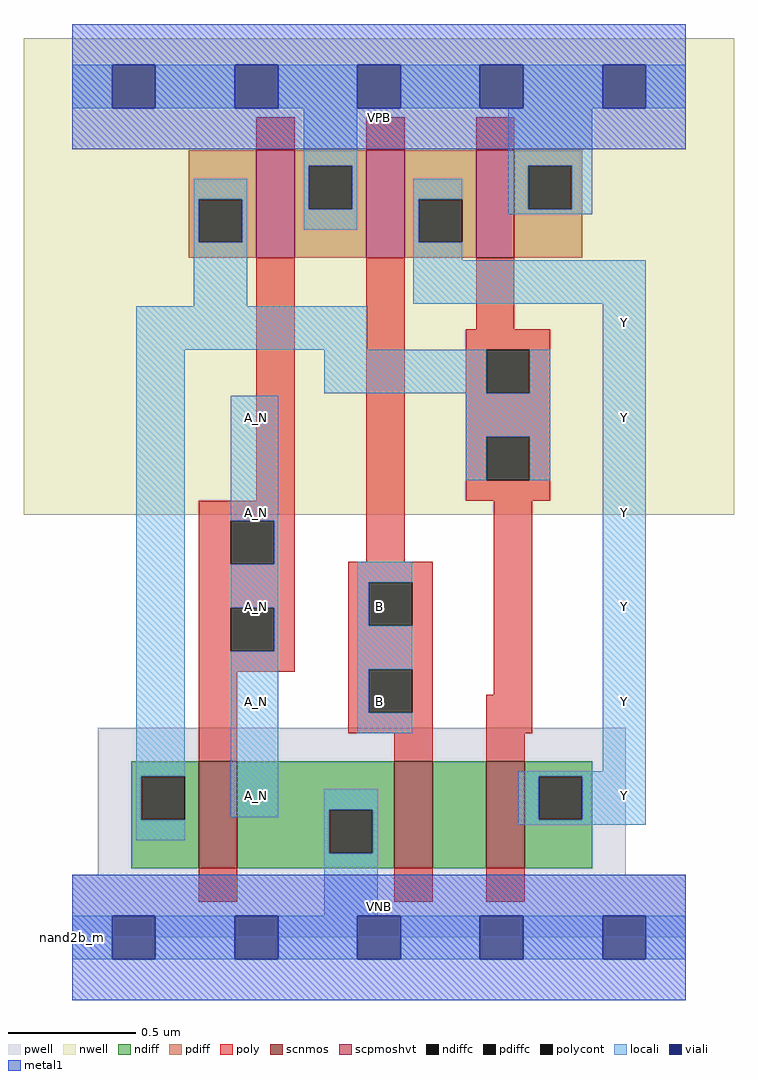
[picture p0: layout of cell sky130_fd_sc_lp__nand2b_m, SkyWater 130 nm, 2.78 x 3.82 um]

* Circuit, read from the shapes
.subckt sky130_fd_sc_lp__nand2b_m A_N B VGND VNB VPB VPWR Y
XM1 VGND A_N n1 VNB sky130_fd_pr__nfet_01v8 w=0.42 l=0.15
XM2 n2 B VGND VNB sky130_fd_pr__nfet_01v8 w=0.42 l=0.15
XM3 Y n1 n2 VNB sky130_fd_pr__nfet_01v8 w=0.42 l=0.15
XM4 VPWR A_N n1 VPB sky130_fd_pr__pfet_01v8_hvt w=0.42 l=0.15
XM5 Y B VPWR VPB sky130_fd_pr__pfet_01v8_hvt w=0.42 l=0.15
XM6 VPWR n1 Y VPB sky130_fd_pr__pfet_01v8_hvt w=0.42 l=0.15
.ends

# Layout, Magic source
magic
tech sky130A
magscale 1 2
<< nwell >>
rect -38 331 518 704
<< pwell >>
rect 20 49 433 164
rect 0 0 480 49
<< scnmos >>
rect 99 54 129 138
rect 252 54 282 138
rect 324 54 354 138
<< scpmoshvt >>
rect 144 532 174 616
rect 230 532 260 616
rect 316 532 346 616
<< ndiff >>
rect 46 126 99 138
rect 46 92 54 126
rect 88 92 99 126
rect 46 54 99 92
rect 129 100 252 138
rect 129 66 201 100
rect 235 66 252 100
rect 129 54 252 66
rect 282 54 324 138
rect 354 126 407 138
rect 354 92 365 126
rect 399 92 407 126
rect 354 54 407 92
<< pdiff >>
rect 91 578 144 616
rect 91 544 99 578
rect 133 544 144 578
rect 91 532 144 544
rect 174 604 230 616
rect 174 570 185 604
rect 219 570 230 604
rect 174 532 230 570
rect 260 578 316 616
rect 260 544 271 578
rect 305 544 316 578
rect 260 532 316 544
rect 346 604 399 616
rect 346 570 357 604
rect 391 570 399 604
rect 346 532 399 570
<< ndiffc >>
rect 54 92 88 126
rect 201 66 235 100
rect 365 92 399 126
<< pdiffc >>
rect 99 544 133 578
rect 185 570 219 604
rect 271 544 305 578
rect 357 570 391 604
<< poly >>
rect 144 616 174 642
rect 230 616 260 642
rect 316 616 346 642
rect 144 342 174 532
rect 99 326 174 342
rect 99 292 124 326
rect 158 292 174 326
rect 230 294 260 532
rect 316 476 346 532
rect 308 460 374 476
rect 308 426 324 460
rect 358 426 374 460
rect 308 392 374 426
rect 308 358 324 392
rect 358 358 374 392
rect 308 342 374 358
rect 99 258 174 292
rect 99 224 124 258
rect 158 224 174 258
rect 99 208 174 224
rect 216 278 282 294
rect 216 244 232 278
rect 266 244 282 278
rect 216 210 282 244
rect 99 138 129 208
rect 216 176 232 210
rect 266 176 282 210
rect 330 190 360 342
rect 216 160 282 176
rect 252 138 282 160
rect 324 160 360 190
rect 324 138 354 160
rect 99 28 129 54
rect 252 28 282 54
rect 324 28 354 54
<< polycont >>
rect 124 292 158 326
rect 324 426 358 460
rect 324 358 358 392
rect 124 224 158 258
rect 232 244 266 278
rect 232 176 266 210
<< locali >>
rect 0 649 31 683
rect 65 649 127 683
rect 161 649 223 683
rect 257 649 319 683
rect 353 649 415 683
rect 449 649 480 683
rect 181 604 223 649
rect 95 578 137 594
rect 95 544 99 578
rect 133 544 137 578
rect 181 570 185 604
rect 219 570 223 604
rect 341 604 407 649
rect 181 554 223 570
rect 267 578 305 594
rect 95 494 137 544
rect 267 544 271 578
rect 341 570 357 604
rect 391 570 407 604
rect 341 566 407 570
rect 267 530 305 544
rect 267 496 449 530
rect 50 460 231 494
rect 50 126 88 460
rect 197 426 324 460
rect 358 426 374 460
rect 50 92 54 126
rect 124 326 161 424
rect 308 392 374 426
rect 308 358 324 392
rect 358 358 374 392
rect 158 292 161 326
rect 124 258 161 292
rect 158 224 161 258
rect 124 94 161 224
rect 223 278 266 294
rect 223 244 232 278
rect 223 210 266 244
rect 223 176 232 210
rect 223 160 266 176
rect 415 130 449 496
rect 349 126 449 130
rect 197 100 239 116
rect 50 76 88 92
rect 197 66 201 100
rect 235 66 239 100
rect 349 92 365 126
rect 399 92 449 126
rect 349 88 449 92
rect 197 17 239 66
rect 0 -17 31 17
rect 65 -17 127 17
rect 161 -17 223 17
rect 257 -17 319 17
rect 353 -17 415 17
rect 449 -17 480 17
<< viali >>
rect 31 649 65 683
rect 127 649 161 683
rect 223 649 257 683
rect 319 649 353 683
rect 415 649 449 683
rect 31 -17 65 17
rect 127 -17 161 17
rect 223 -17 257 17
rect 319 -17 353 17
rect 415 -17 449 17
<< metal1 >>
rect 0 683 480 715
rect 0 649 31 683
rect 65 649 127 683
rect 161 649 223 683
rect 257 649 319 683
rect 353 649 415 683
rect 449 649 480 683
rect 0 617 480 649
rect 0 17 480 49
rect 0 -17 31 17
rect 65 -17 127 17
rect 161 -17 223 17
rect 257 -17 319 17
rect 353 -17 415 17
rect 449 -17 480 17
rect 0 -49 480 -17
<< labels >>
flabel pwell s 0 0 480 49 0 FreeSans 200 0 0 0 VNB
port 4 nsew ground bidirectional
flabel nwell s 0 617 480 666 0 FreeSans 200 0 0 0 VPB
port 5 nsew power bidirectional
rlabel comment s 0 0 0 0 4 nand2b_m
flabel metal1 s 0 617 480 666 0 FreeSans 340 0 0 0 VPWR
port 6 nsew power bidirectional
flabel metal1 s 0 0 480 49 0 FreeSans 340 0 0 0 VGND
port 3 nsew ground bidirectional
flabel locali s 223 168 257 202 0 FreeSans 340 0 0 0 B
port 2 nsew signal input
flabel locali s 223 242 257 276 0 FreeSans 340 0 0 0 B
port 2 nsew signal input
flabel locali s 127 94 161 128 0 FreeSans 340 0 0 0 A_N
port 1 nsew signal input
flabel locali s 127 168 161 202 0 FreeSans 340 0 0 0 A_N
port 1 nsew signal input
flabel locali s 127 242 161 276 0 FreeSans 340 0 0 0 A_N
port 1 nsew signal input
flabel locali s 127 316 161 350 0 FreeSans 340 0 0 0 A_N
port 1 nsew signal input
flabel locali s 127 390 161 424 0 FreeSans 340 0 0 0 A_N
port 1 nsew signal input
flabel locali s 415 94 449 128 0 FreeSans 340 0 0 0 Y
port 7 nsew signal output
flabel locali s 415 168 449 202 0 FreeSans 340 0 0 0 Y
port 7 nsew signal output
flabel locali s 415 242 449 276 0 FreeSans 340 0 0 0 Y
port 7 nsew signal output
flabel locali s 415 316 449 350 0 FreeSans 340 0 0 0 Y
port 7 nsew signal output
flabel locali s 415 390 449 424 0 FreeSans 340 0 0 0 Y
port 7 nsew signal output
flabel locali s 415 464 449 498 0 FreeSans 340 0 0 0 Y
port 7 nsew signal output
<< properties >>
string LEFsite unit
string LEFclass CORE
string FIXED_BBOX 0 0 480 666
string GDS_FILE $PDKPATH/libs.ref/sky130_fd_sc_lp/gds/sky130_fd_sc_lp.gds
string LEFsymmetry X Y R90
string GDS_END 4471178
string GDS_START 4465596
<< end >>
